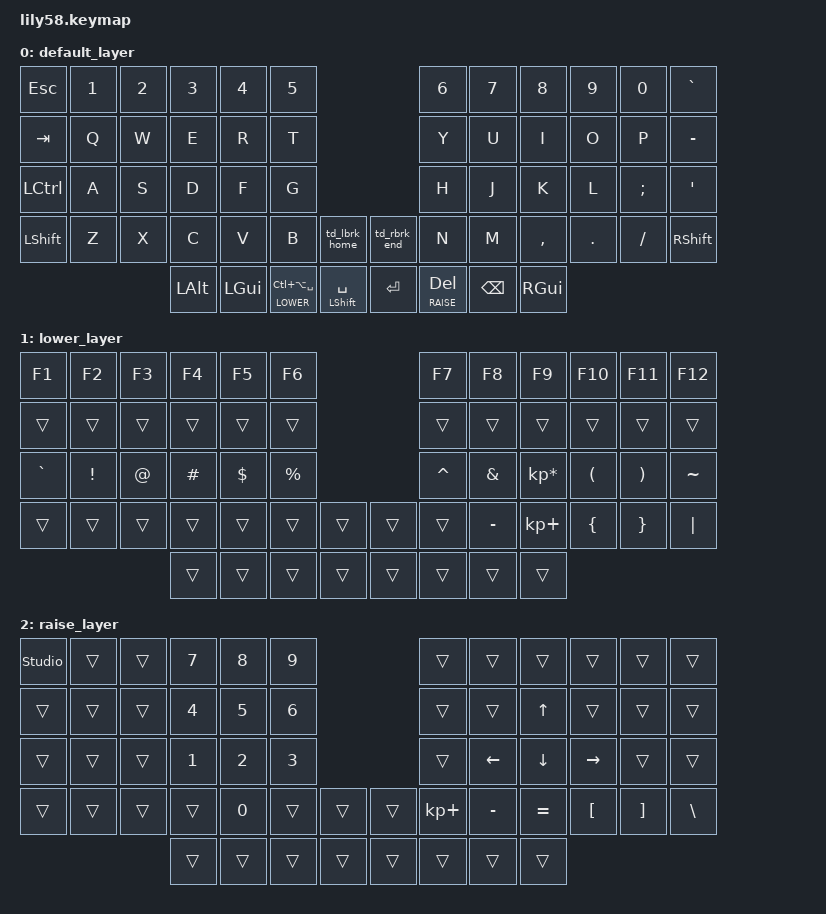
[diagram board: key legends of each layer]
#include <behaviors.dtsi>
#include <dt-bindings/zmk/bt.h>
#include <dt-bindings/zmk/keys.h>
#include <dt-bindings/zmk/behaviors.h>

#define CH_LANG LC(LA(SPACE))
#define LOWER 1
#define RAISE 2

/ {
    behaviors {
        td_lbrk_home: tap_dance_lbrk_home {
            compatible = "zmk,behavior-tap-dance";
            #binding-cells = <0>;
            tapping-term-ms = <200>;
            bindings = <&kp LBKT>, <&kp HOME>;
        };
        td_rbrk_end: tap_dance_rbrk_end {
            compatible = "zmk,behavior-tap-dance";
            #binding-cells = <0>;
            tapping-term-ms = <200>;
            bindings = <&kp RBKT>, <&kp END>;
        };
    };

    keymap {
        compatible = "zmk,keymap";

        default_layer {
            bindings = <
                &kp ESC    &kp N1  &kp N2  &kp N3    &kp N4    &kp N5                                            &kp N6         &kp N7    &kp N8     &kp N9   &kp N0    &kp GRAVE
                &kp TAB    &kp Q   &kp W   &kp E     &kp R     &kp T                                             &kp Y          &kp U     &kp I      &kp O    &kp P     &kp MINUS
                &kp LCTRL  &kp A   &kp S   &kp D     &kp F     &kp G                                             &kp H          &kp J     &kp K      &kp L    &kp SEMI  &kp SQT
                &kp LSHFT  &kp Z   &kp X   &kp C     &kp V     &kp B              &td_lbrk_home    &td_rbrk_end  &kp N          &kp M     &kp COMMA  &kp DOT  &kp FSLH  &kp RSHFT
                                           &kp LALT  &kp LGUI  &lt LOWER CH_LANG  &mt LSHFT SPACE  &kp RET       &lt RAISE DEL  &kp BSPC  &kp RGUI
            >;
        };

        lower_layer {
            bindings = <
                &kp F1     &kp F2    &kp F3  &kp F4    &kp F5      &kp F6                     &kp F7     &kp F8     &kp F9           &kp F10   &kp F11   &kp F12
                &trans     &trans    &trans  &trans    &trans      &trans                     &trans     &trans     &trans           &trans    &trans    &trans
                &kp GRAVE  &kp EXCL  &kp AT  &kp HASH  &kp DOLLAR  &kp PRCNT                  &kp CARET  &kp AMPS   &kp KP_MULTIPLY  &kp LPAR  &kp RPAR  &kp TILDE
                &trans     &trans    &trans  &trans    &trans      &trans     &trans  &trans  &trans     &kp MINUS  &kp KP_PLUS      &kp LBRC  &kp RBRC  &kp PIPE
                                             &trans    &trans      &trans     &trans  &trans  &trans     &trans     &trans
            >;
        };

        raise_layer {
            bindings = <
                &studio_unlock  &trans  &trans  &kp N7  &kp N8  &kp N9                    &trans       &trans        &trans        &trans        &trans        &trans
                &trans          &trans  &trans  &kp N4  &kp N5  &kp N6                    &trans       &trans        &kp UP        &trans        &trans        &trans
                &trans          &trans  &trans  &kp N1  &kp N2  &kp N3                    &trans       &kp LEFT      &kp DOWN      &kp RIGHT     &trans        &trans
                &trans          &trans  &trans  &trans  &kp N0  &trans  &trans    &trans  &kp KP_PLUS  &kp MINUS     &kp EQUAL     &kp LBKT      &kp RBKT      &kp BSLH
                                                &trans  &trans  &trans  &trans    &trans  &trans       &trans        &trans
            >;
        };
    };
};
